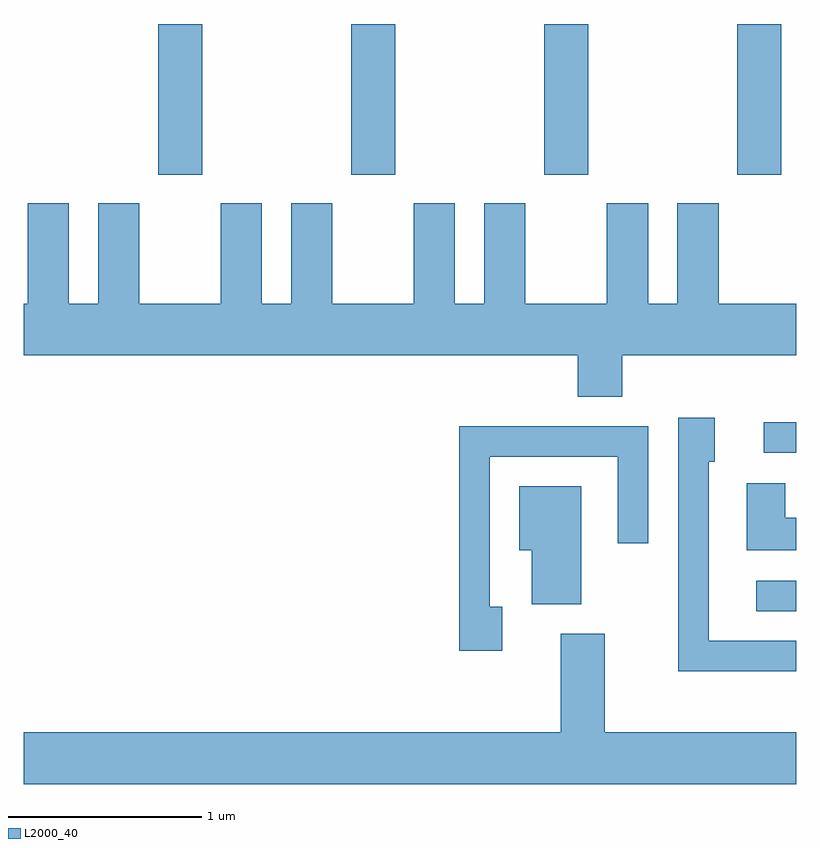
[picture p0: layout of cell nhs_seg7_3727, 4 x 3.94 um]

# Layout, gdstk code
import gdstk
lib = gdstk.Library(unit=1e-6, precision=1e-09)
def R(c, l, rs):  # rectangles x0, y0, x1, y1
    for r in rs: c.add(gdstk.rectangle(r[:2], r[2:], *l))
def A(c, l, x, y, w, h, nx, ny, dx, dy):  # array of equal rectangles
    R(c, l, [(x+i*dx, y+j*dy, x+i*dx+w, y+j*dy+h) for i in range(nx) for j in range(ny)])
def P(c, l, *ps):  # polygons
    for p in ps: c.add(gdstk.Polygon(p, *l))
L2000_40 = (2000, 40)

nhs_seg7_3727 = lib.new_cell('nhs_seg7_3727')
A(nhs_seg7_3727, L2000_40, 300.306, 1717.471, 0.228, 0.781, 4, 1, 1, 0)
R(nhs_seg7_3727, L2000_40, [(303.403,1715.211,303.611,1715.369), (303.443,1716.031,303.611,1716.189)])
P(nhs_seg7_3727, L2000_40, [(302.709,1716.536),(303.611,1716.536),(303.611,1716.804),(303.209,1716.804),(303.209,1717.324),(302.996,1717.324),(302.996,1716.804),(302.844,1716.804),(302.844,1717.324),(302.631,1717.324),(302.631,1716.804),(302.209,1716.804),(302.209,1717.324),(301.996,1717.324),(301.996,1716.804),(301.844,1716.804),(301.844,1717.324),(301.631,1717.324),(301.631,1716.804),(301.209,1716.804),(301.209,1717.324),(300.996,1717.324),(300.996,1716.804),(300.844,1716.804),(300.844,1717.324),(300.631,1717.324),(300.631,1716.804),(300.209,1716.804),(300.209,1717.324),(299.996,1717.324),(299.996,1716.804),(299.844,1716.804),(299.844,1717.324),(299.631,1717.324),(299.631,1716.804),(299.611,1716.804),(299.611,1716.536),(302.481,1716.536),(302.481,1716.321),(302.709,1716.321)],
  [(303.611,1715.059),(303.159,1715.059),(303.159,1715.986),(303.189,1715.986),(303.189,1716.214),(303.001,1716.214),(303.001,1714.901),(303.611,1714.901)],
  [(302.089,1715.234),(302.024,1715.234),(302.024,1716.011),(302.686,1716.011),(302.686,1715.563),(302.844,1715.563),(302.844,1716.169),(301.866,1716.169),(301.866,1715.006),(302.089,1715.006)],
  [(303.611,1715.694),(303.554,1715.694),(303.554,1715.874),(303.356,1715.874),(303.356,1715.526),(303.611,1715.526)],
  [(302.499,1715.859),(302.176,1715.859),(302.176,1715.526),(302.241,1715.526),(302.241,1715.246),(302.499,1715.246)],
  [(303.611,1714.584),(302.619,1714.584),(302.619,1715.094),(302.391,1715.094),(302.391,1714.584),(299.611,1714.584),(299.611,1714.316),(303.611,1714.316)])

lib.write_gds('nhs_seg7_3727.gds')
